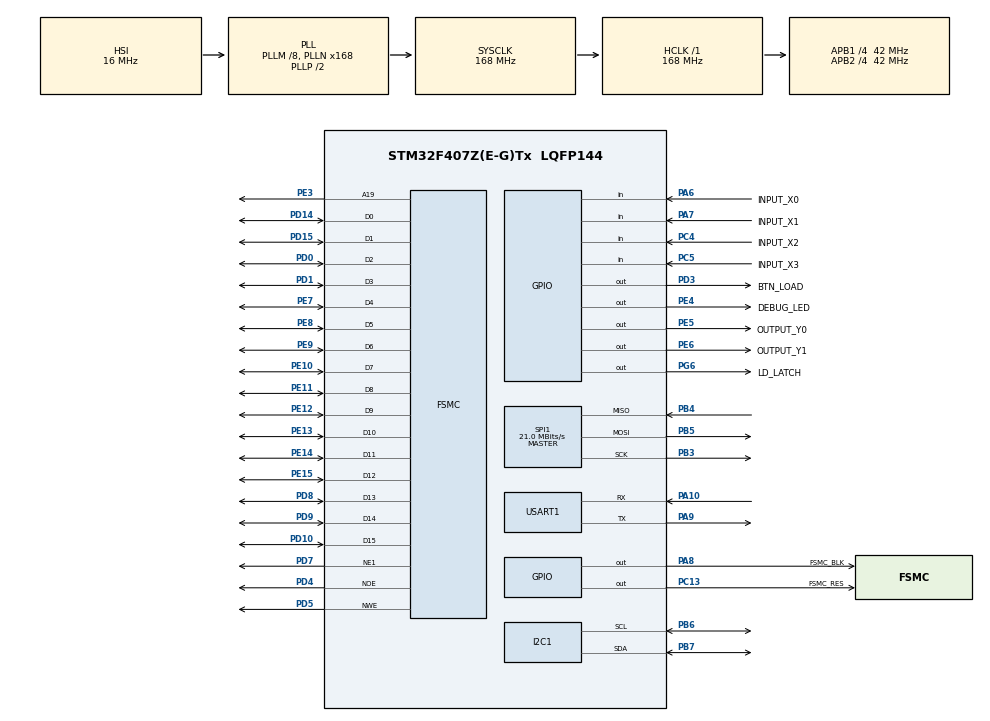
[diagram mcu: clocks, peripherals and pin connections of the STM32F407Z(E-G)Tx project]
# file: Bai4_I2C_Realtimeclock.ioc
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FSMC.AddressSetupTime1=0xf
FSMC.BusTurnAroundDuration1=0
FSMC.DataSetupTime1=60
FSMC.ExtendedAddressSetupTime1=8
FSMC.ExtendedBusTurnAroundDuration1=0
FSMC.ExtendedDataSetupTime1=9
FSMC.ExtendedMode1=FSMC_EXTENDED_MODE_ENABLE
I2C1.I2C_Mode=I2C_Standard
Mcu.Family=STM32F4
Mcu.Name=STM32F407Z(E-G)Tx
Mcu.Package=LQFP144
NVIC.PriorityGroup=NVIC_PRIORITYGROUP_4
NVIC.TIM2_IRQn=true\:0\:0\:false\:false\:true\:true\:true
NVIC.USART1_IRQn=true\:0\:0\:false\:false\:true\:true\:true
PA10.Mode=Asynchronous
PA10.Signal=USART1_RX
PA13.Mode=Serial_Wire
PA13.Signal=SYS_JTMS-SWDIO
PA14.Mode=Serial_Wire
PA14.Signal=SYS_JTCK-SWCLK
PA6.GPIO_Label=INPUT_X0
PA6.Signal=GPIO_Input
PA7.GPIO_Label=INPUT_X1
PA7.Signal=GPIO_Input
PA8.GPIO_Label=FSMC_BLK
PA8.Signal=GPIO_Output
PA9.Mode=Asynchronous
PA9.Signal=USART1_TX
PB3.Mode=Full_Duplex_Master
PB3.Signal=SPI1_SCK
PB4.Mode=Full_Duplex_Master
PB4.Signal=SPI1_MISO
PB5.Mode=Full_Duplex_Master
PB5.Signal=SPI1_MOSI
PB6.Mode=I2C
PB6.Signal=I2C1_SCL
PB7.Mode=I2C
PB7.Signal=I2C1_SDA
PC13-ANTI_TAMP.GPIO_Label=FSMC_RES
PC13-ANTI_TAMP.Signal=GPIO_Output
PC4.GPIO_Label=INPUT_X2
PC4.Signal=GPIO_Input
PC5.GPIO_Label=INPUT_X3
PC5.Signal=GPIO_Input
PD0.Signal=FSMC_D2_DA2
PD1.Signal=FSMC_D3_DA3
PD10.Signal=FSMC_D15_DA15
PD14.Signal=FSMC_D0_DA0
PD15.Signal=FSMC_D1_DA1
PD3.GPIO_Label=BTN_LOAD
PD3.Signal=GPIO_Output
PD4.Signal=FSMC_NOE
PD5.Signal=FSMC_NWE
PD7.Mode=NorPsramChipSelect1_1
PD7.Signal=FSMC_NE1
PD8.Signal=FSMC_D13_DA13
PD9.Signal=FSMC_D14_DA14
PE10.Signal=FSMC_D7_DA7
PE11.Signal=FSMC_D8_DA8
PE12.Signal=FSMC_D9_DA9
PE13.Signal=FSMC_D10_DA10
PE14.Signal=FSMC_D11_DA11
PE15.Signal=FSMC_D12_DA12
PE3.Signal=FSMC_A19
PE4.GPIO_Label=DEBUG_LED
PE4.Signal=GPIO_Output
PE5.GPIO_Label=OUTPUT_Y0
PE5.Signal=GPIO_Output
PE6.GPIO_Label=OUTPUT_Y1
PE6.Signal=GPIO_Output
PE7.Signal=FSMC_D4_DA4
PE8.Signal=FSMC_D5_DA5
PE9.Signal=FSMC_D6_DA6
PG6.GPIO_Label=LD_LATCH
PG6.Signal=GPIO_Output
PH0-OSC_IN.Mode=HSE-External-Oscillator
PH0-OSC_IN.Signal=RCC_OSC_IN
PH1-OSC_OUT.Mode=HSE-External-Oscillator
PH1-OSC_OUT.Signal=RCC_OSC_OUT
ProjectManager.HeapSize=0x200
ProjectManager.StackSize=0x400
ProjectManager.TargetToolchain=STM32CubeIDE
RCC.48MHZClocksFreq_Value=84000000
RCC.AHBFreq_Value=168000000
RCC.APB1CLKDivider=RCC_HCLK_DIV4
RCC.APB1Freq_Value=42000000
RCC.APB1TimFreq_Value=84000000
RCC.APB2CLKDivider=RCC_HCLK_DIV4
RCC.APB2Freq_Value=42000000
RCC.APB2TimFreq_Value=84000000
RCC.CortexFreq_Value=168000000
RCC.HCLKFreq_Value=168000000
RCC.HSE_VALUE=8000000
RCC.HSI_VALUE=16000000
RCC.LSE_VALUE=32768
RCC.PLLM=8
RCC.PLLN=168
RCC.SYSCLKFreq_VALUE=168000000
RCC.SYSCLKSource=RCC_SYSCLKSOURCE_PLLCLK
RCC.VCOOutputFreq_Value=336000000
SH.FSMC_A19.0=FSMC_A19,A19_1
SH.FSMC_D0_DA0.0=FSMC_D0,16b-d1
SH.FSMC_D10_DA10.0=FSMC_D10,16b-d1
SH.FSMC_D11_DA11.0=FSMC_D11,16b-d1
SH.FSMC_D12_DA12.0=FSMC_D12,16b-d1
SH.FSMC_D13_DA13.0=FSMC_D13,16b-d1
SH.FSMC_D14_DA14.0=FSMC_D14,16b-d1
SH.FSMC_D15_DA15.0=FSMC_D15,16b-d1
SH.FSMC_D1_DA1.0=FSMC_D1,16b-d1
SH.FSMC_D2_DA2.0=FSMC_D2,16b-d1
SH.FSMC_D3_DA3.0=FSMC_D3,16b-d1
SH.FSMC_D4_DA4.0=FSMC_D4,16b-d1
SH.FSMC_D5_DA5.0=FSMC_D5,16b-d1
SH.FSMC_D6_DA6.0=FSMC_D6,16b-d1
SH.FSMC_D7_DA7.0=FSMC_D7,16b-d1
SH.FSMC_D8_DA8.0=FSMC_D8,16b-d1
SH.FSMC_D9_DA9.0=FSMC_D9,16b-d1
SH.FSMC_NOE.0=FSMC_NOE,Lcd1
SH.FSMC_NWE.0=FSMC_NWE,Lcd1
SPI1.BaudRatePrescaler=SPI_BAUDRATEPRESCALER_2
SPI1.CalculateBaudRate=21.0 MBits/s
SPI1.Direction=SPI_DIRECTION_2LINES
SPI1.Mode=SPI_MODE_MASTER
SPI1.VirtualType=VM_MASTER
TIM2.Period=100-1
TIM2.Prescaler=840-1
USART1.VirtualMode=VM_ASYNC
VP_TIM2_VS_ClockSourceINT.Mode=Internal
board=custom

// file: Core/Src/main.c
/* USER CODE BEGIN Header */
/**
  ******************************************************************************
  * @file           : main.c
  * @brief          : Main program body
  ******************************************************************************
  * @attention
  *
  * <h2><center>&copy; Copyright (c) 2023 STMicroelectronics.
  * All rights reserved.</center></h2>
  *
  * This software component is licensed by ST under BSD 3-Clause license,
  * the "License"; You may not use this file except in compliance with the
  * License. You may obtain a copy of the License at:
  *                        opensource.org/licenses/BSD-3-Clause
  *
  ******************************************************************************
  */
/* USER CODE END Header */
#include "main.h"
#include "i2c.h"
#include "spi.h"
#include "tim.h"
#include "usart.h"
#include "gpio.h"
#include "fsmc.h"
#include "uart.h"
#include <ctype.h>

/* USER CODE BEGIN Includes */
#include "software_timer.h"
#include "led_7seg.h"
#include "button.h"
#include "lcd.h"
#include "picture.h"
#include "ds3231.h"
#include "lab4.h"

/* USER CODE END Includes */

/* USER CODE BEGIN PD */
#define UPDATE_HOURS 	0
#define UPDATE_MINS		1
#define UPDATE_SECS		2
#define CONFIRM			3

// Lab 5
#define MAX_RETRY 3
#define TIMEOUT_PERIOD 10000 // 10 seconds in milliseconds (assumes 50ms timer interval)

/* USER CODE END PD */

/* USER CODE BEGIN PV */
uint8_t count_led_debug = 0;

// Lab 5
uint8_t retry_count = 0;       // Tracks retry attempts
uint32_t timeout_timer = 0;    // Tracks time since request sent
uint8_t timeout_flag = 0;      // Indicates if waiting for a response
uint8_t update_time_uart_flag = 0;

uint8_t error_display_flag = 0;     // Flag to indicate error message display
uint32_t error_display_timer = 0;   // Timer to track the error display duration

/* USER CODE END PV */

void SystemClock_Config(void);
/* USER CODE BEGIN PFP */
void system_init();
void test_LedDebug();
void displayTime();
void updateTime();
void update_time_uart();
void clear_buffer();
/* USER CODE END PFP */

int main(void)
{

  /* MCU Configuration--------------------------------------------------------*/

  /* Reset of all peripherals, Initializes the Flash interface and the Systick. */
  HAL_Init();

  /* Configure the system clock */
  SystemClock_Config();

  /* Initialize all configured peripherals */
  MX_GPIO_Init();
  MX_TIM2_Init();
  MX_SPI1_Init();
  MX_FSMC_Init();
  MX_I2C1_Init();
  MX_USART1_UART_Init();
  /* USER CODE BEGIN 2 */
  system_init();
  /* USER CODE END 2 */

  /* Infinite loop */
  /* USER CODE BEGIN WHILE */
  lcd_Clear(BLACK);
  updateTime();
  lcd_Fill(0, 250, 240, 320, BLACK);
  lcd_ShowStr(70, 250, "NORMAL MODE", WHITE, BLACK, 24, 0);
  int status = UPDATE_HOURS;
  while (1)
  {
	  // Periodic timer interrupt flag
	  if (flag_timer2) {
		  flag_timer2 = 0;

		  // Other periodic tasks
		  button_Scan();
		  update_state();
		  clock_run();

		  // Check for button press to enter UART update mode
		  update_time_uart();

		  // Handle error message display timing
		  if (error_display_flag) {
			  error_display_timer += 50; // Increment timer by the timer interval (50ms)

			  if (error_display_timer >= 2000) { // 2000ms = 2 seconds
				  error_display_flag = 0;        // Reset the flag
				  error_display_timer = 0;       // Reset the timer

				  // Clear the error messages from the LCD
				  // You may need to adjust the coordinates based on your display layout
				  lcd_Fill(0, 20, lcddev.width, 60, BLACK); // Clear the area where messages were displayed
			  }
		  }

		  // Monitor timeout if waiting for a response
		  if (update_time_uart_flag) {
			  if (timeout_flag) {
				  timeout_timer += 50; // Assuming the timer interval is 50ms

				  if (timeout_timer >= TIMEOUT_PERIOD) {
					  timeout_timer = 0; // Reset the timer for the next attempt
					  retry_count++;

					  if (retry_count < MAX_RETRY) {
						  // Retry sending the request
						  switch (status) {
							  case UPDATE_HOURS:
								  uart_Rs232SendString("Hours\n");
								  break;
							  case UPDATE_MINS:
								  uart_Rs232SendString("Minutes\n");
								  break;
							  case UPDATE_SECS:
								  uart_Rs232SendString("Seconds\n");
								  break;
						  }
					  } else {
						  // Exceeded retry limit, display error and reset
						  lcd_StrCenter(0, 20, "Error: No response!", RED, BLACK, 16, 0);

						  // Set the error display flag and reset the timer
						  error_display_flag = 1;     // Start the error display duration
						  error_display_timer = 0;    // Reset the timer

						  reset_timeout(); // Reset timeout and retry counters
						  status = UPDATE_HOURS; // Reset state machine to initial state
						  update_time_uart_flag = 0;
					  }
				  }
			  }
		  }
	  }

	  // Process received data if available
	  if (buffer_flag && update_time_uart_flag) {
		  buffer_flag = 0; // Clear the buffer flag

		  // Process data based on the current state
		  switch (status) {
			  case UPDATE_HOURS:
				  if (isInteger(rcv)) {
					  int hour = atoi(rcv);
					  if (hour >= 0 && hour < 24) {
						  ds3231_Write(ADDRESS_HOUR, hour);
//						  lcd_ShowStr(20, 160, "Hours updated", GREEN, BLACK, 16, 0);
						  status = UPDATE_MINS; // Proceed to updating minutes
						  reset_timeout();     // Clear timeout after valid response
					  } else {
						  uart_Rs232SendString("Hours\n"); // Resend request for hours
						  clear_buffer();
					  }
				  } else {
					  uart_Rs232SendString("Hours\n"); // Resend request for hours
					  clear_buffer();
				  }
				  break;

			  case UPDATE_MINS:
				  if (isInteger(rcv)) {
					  int mins = atoi(rcv);
					  if (mins >= 0 && mins < 60) {
						  ds3231_Write(ADDRESS_MIN, mins);
//						  lcd_ShowStr(20, 190, "Minutes updated", GREEN, BLACK, 16, 0);
						  status = UPDATE_SECS; // Proceed to updating seconds
						  reset_timeout();     // Clear timeout after valid response
					  } else {
						  uart_Rs232SendString("Minutes\n"); // Resend request for minutes
						  clear_buffer();
					  }
				  } else {
					  uart_Rs232SendString("Minutes\n"); // Resend request for minutes
					  clear_buffer();
				  }
				  break;

			  case UPDATE_SECS:
				  if (isInteger(rcv)) {
					  int secs = atoi(rcv);
					  if (secs >= 0 && secs < 60) {
						  ds3231_Write(ADDRESS_SEC, secs);
//						  lcd_ShowStr(20, 220, "Seconds updated", GREEN, BLACK, 16, 0);
						  status = CONFIRM; // Proceed to confirmation
						  reset_timeout(); // Clear timeout after valid response

						  lcd_StrCenter(0, 20, "Time updated successfully", GREEN, BLACK, 16, 0);

						  // Set the error display flag and reset the timer
						  error_display_flag = 1;     // Start the error display duration
						  error_display_timer = 0;    // Reset the timer

						  reset_timeout(); // Clear timeout and reset retry counters
						  status = UPDATE_HOURS; // Reset state machine for the next update
						  update_time_uart_flag = 0;
					  } else {
						  uart_Rs232SendString("Seconds\n"); // Resend request for seconds
						  clear_buffer();
					  }
				  } else {
					  uart_Rs232SendString("Seconds\n"); // Resend request for seconds
					  clear_buffer();
				  }
				  break;

//			  case CONFIRM:
//				  // Final confirmation and success message
//				  lcd_StrCenter(0, 20, "Time updated successfully", GREEN, BLACK, 16, 0);
//				  reset_timeout(); // Clear timeout and reset retry counters
//				  status = UPDATE_HOURS; // Reset state machine for the next update
//				  update_time_uart_flag = 0;
//				  break;

			  default:
				  break;
		  }
	  }

	  // Trigger sending a request if timeout_flag is not active
	  if (!timeout_flag && update_time_uart_flag) {
		  switch (status) {
			  case UPDATE_HOURS:
				  uart_Rs232SendString("Hours\n");
				  timeout_flag = 1;  // Start the timeout timer
				  timeout_timer = 0; // Reset the timer
				  break;

			  case UPDATE_MINS:
				  uart_Rs232SendString("Minutes\n");
				  timeout_flag = 1;  // Start the timeout timer
				  timeout_timer = 0; // Reset the timer
				  break;

			  case UPDATE_SECS:
				  uart_Rs232SendString("Seconds\n");
				  timeout_flag = 1;  // Start the timeout timer
				  timeout_timer = 0; // Reset the timer
				  break;

			  default:
				  break;
		  }
	  }

    /* USER CODE END WHILE */

  }
}

void SystemClock_Config(void)
{
  RCC_OscInitTypeDef RCC_OscInitStruct = {0};
  RCC_ClkInitTypeDef RCC_ClkInitStruct = {0};

  /** Configure the main internal regulator output voltage
  */
  __HAL_RCC_PWR_CLK_ENABLE();
  __HAL_PWR_VOLTAGESCALING_CONFIG(PWR_REGULATOR_VOLTAGE_SCALE1);
  /** Initializes the RCC Oscillators according to the specified parameters
  * in the RCC_OscInitTypeDef structure.
  */
  RCC_OscInitStruct.OscillatorType = RCC_OSCILLATORTYPE_HSI;
  RCC_OscInitStruct.HSIState = RCC_HSI_ON;
  RCC_OscInitStruct.HSICalibrationValue = RCC_HSICALIBRATION_DEFAULT;
  RCC_OscInitStruct.PLL.PLLState = RCC_PLL_ON;
  RCC_OscInitStruct.PLL.PLLSource = RCC_PLLSOURCE_HSI;
  RCC_OscInitStruct.PLL.PLLM = 8;
  RCC_OscInitStruct.PLL.PLLN = 168;
  RCC_OscInitStruct.PLL.PLLP = RCC_PLLP_DIV2;
  RCC_OscInitStruct.PLL.PLLQ = 4;
  if (HAL_RCC_OscConfig(&RCC_OscInitStruct) != HAL_OK)
  {
    Error_Handler();
  }
  /** Initializes the CPU, AHB and APB buses clocks
  */
  RCC_ClkInitStruct.ClockType = RCC_CLOCKTYPE_HCLK|RCC_CLOCKTYPE_SYSCLK
                              |RCC_CLOCKTYPE_PCLK1|RCC_CLOCKTYPE_PCLK2;
  RCC_ClkInitStruct.SYSCLKSource = RCC_SYSCLKSOURCE_PLLCLK;
  RCC_ClkInitStruct.AHBCLKDivider = RCC_SYSCLK_DIV1;
  RCC_ClkInitStruct.APB1CLKDivider = RCC_HCLK_DIV4;
  RCC_ClkInitStruct.APB2CLKDivider = RCC_HCLK_DIV4;

  if (HAL_RCC_ClockConfig(&RCC_ClkInitStruct, FLASH_LATENCY_5) != HAL_OK)
  {
    Error_Handler();
  }
}

/* USER CODE BEGIN 4 */
void system_init(){
	  HAL_GPIO_WritePin(OUTPUT_Y0_GPIO_Port, OUTPUT_Y0_Pin, 0);
	  HAL_GPIO_WritePin(OUTPUT_Y1_GPIO_Port, OUTPUT_Y1_Pin, 0);
	  HAL_GPIO_WritePin(DEBUG_LED_GPIO_Port, DEBUG_LED_Pin, 0);
	  timer_init();
	  led7_init();
	  button_init();
	  lcd_init();
	  uart_init_rs232();
	  ds3231_init();
	  setTimer2(50);
}

void test_LedDebug(){
	count_led_debug = (count_led_debug + 1)%20;
	if(count_led_debug == 0){
		HAL_GPIO_TogglePin(DEBUG_LED_GPIO_Port, DEBUG_LED_Pin);
	}
}

void test_7seg(){
	led7_SetDigit(0, 0, 0);
	led7_SetDigit(5, 1, 0);
	led7_SetDigit(4, 2, 0);
	led7_SetDigit(7, 3, 0);
}

void test_button(){
	for(int i = 0; i < 16; i++){
		if(button_count[i] == 1){
			led7_SetDigit(i/10, 2, 0);
			led7_SetDigit(i%10, 3, 0);
		}
	}
}

void updateTime(){
	ds3231_Write(ADDRESS_YEAR, 24);
	ds3231_Write(ADDRESS_MONTH, 11);
	ds3231_Write(ADDRESS_DATE, 15);
	ds3231_Write(ADDRESS_DAY, 6);
	ds3231_Write(ADDRESS_HOUR, 7);
	ds3231_Write(ADDRESS_MIN, 40);
	ds3231_Write(ADDRESS_SEC, 23);
}

uint8_t isButtonUp()
{
    if (button_count[3] == 1)
        return 1;
    else
        return 0;
}

uint8_t isButtonDown()
{
    if (button_count[7] == 1)
        return 1;
    else
        return 0;
}

void displayTime(){
	lcd_ShowIntNum(70, 100, ds3231_hours, 2, GREEN, BLACK, 24);
	lcd_ShowIntNum(110, 100, ds3231_min, 2, GREEN, BLACK, 24);
	lcd_ShowIntNum(150, 100, ds3231_sec, 2, GREEN, BLACK, 24);
	lcd_ShowIntNum(20, 130, ds3231_day+1, 2, YELLOW, BLACK, 24);
	lcd_ShowIntNum(70, 130, ds3231_date, 2, YELLOW, BLACK, 24);
	lcd_ShowIntNum(110, 130, ds3231_month, 2, YELLOW, BLACK, 24);
	lcd_ShowIntNum(150, 130, ds3231_year, 2, YELLOW, BLACK, 24);
}

// Exercise 5 =================================================================

void update_time_uart(){
	if(button_count[12] == 1){
		lcd_StrCenter(0, 20, "Updating hours...", WHITE, BLACK, 16, 0);
		update_time_uart_flag = 1;
	}
}

void clear_buffer() {
	memset(rcv, 0, sizeof(rcv)); // Clear the buffer
	index_buffer = 0; // reset the index
}

/*
int isInteger(const char *str) {
	uint16_t temp = 0;
    // Check for an empty string
    if (*str == '\0') return 0;

    // Optional: handle a leading negative sign
    if (*str == '-') {
        str++;
    }

    // Check each character to see if it's a digit
    while (*str) {
        if (*str < '0' || *str > '9') {
            return 0; // Non-digit character found
        }

        str++;
    }
    return 1; // All characters are digits
}
*/

int isInteger(const char *str) {
    if (*str == '\0') return 0;  // Empty string
    while (*str) {
        if (!isdigit(*str)) return 0;  // Check if each character is a digit
        str++;
    }
    return 1;
}

void reset_timeout() {
    timeout_flag = 0;
    timeout_timer = 0;
    retry_count = 0;
    clear_buffer();
}

void test_receive(){
	lcd_ShowStr(20, 210, rcv, RED, BLACK, 24, 0);
}

// Exercise 5 END =============================================================

/* USER CODE END 4 */

void Error_Handler(void)
{
  __disable_irq();
  while (1)
  {
  }
}

/************************ (C) COPYRIGHT STMicroelectronics *****END OF FILE****/
